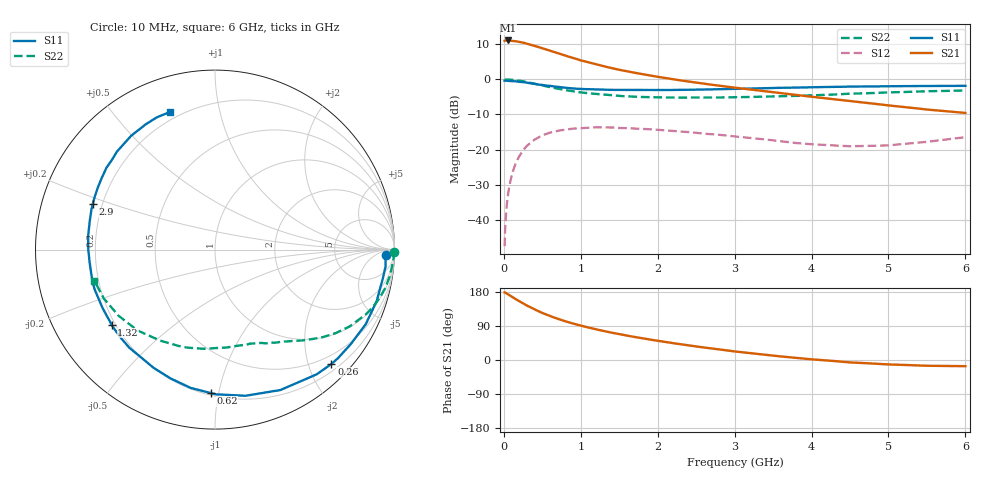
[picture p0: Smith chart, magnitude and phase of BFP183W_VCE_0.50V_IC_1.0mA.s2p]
! Infineon Technologies  Discrete & RF Semiconductors
! BFP183W
! VCE = 0.50V,  IC =  1.0 mA
! Common Emitter S-Parameters:  Jan 2016
# GHz  S  MA  R  50
!  f  S11  S21  S12  S22
! GHz  MAG  ANG  MAG  ANG  MAG  ANG  MAG  ANG
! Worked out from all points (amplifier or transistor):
!   210 points, 10 MHz to 6 GHz, reference 50 ohm
!   highest |S21| = 11.1 dB at 50 MHz (marker M1)
!   |S21| within 3 dB of that: start of sweep to 611.9 MHz
!   unconditionally stable (mu >= 1): 2.486 GHz to end of sweep
!   at 185 MHz: K = 0.09, MSG = 16.6 dB, |S12| = -22.6 dB
!   at 1.52 GHz: K = 0.63, MSG = 8.2 dB, |S12| = -13.9 dB
!   at 6 GHz: K = 1.58, MAG = -1.0 dB, |S12| = -16.5 dB
!   S11 on the Smith chart (normalised r, x): 10 MHz: 29, -20; 260 MHz: 0.33, -2.41; 620 MHz: 0.21, -0.95; 1.32 GHz: 0.19, -0.31; 2.9 GHz: 0.16, +0.17; 6 GHz: 0.16, +0.71
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0.01  0.9541 -1.8  3.543 178.1  0.0042 89.6  0.998 -0.8
0.015  0.9529 -2.7  3.558 177.8  0.0064 88.5  0.9947 -1.2
0.025  0.9534 -4.6  3.573 177.1  0.0106 87.1  0.9942 -2.1
0.05  0.9501 -8.9  3.575 173.9  0.0211 84.6  0.9938 -4.2
0.085  0.9446 -15.0  3.542 169.5  0.0354 79.8  0.9877 -7.1
0.13  0.9379 -22.8  3.506 163.8  0.0536 75.2  0.9781 -10.8
0.2  0.9216 -34.9  3.419 155.0  0.0799 68.4  0.9563 -16.3
0.26  0.9093 -44.5  3.31 148.5  0.1003 62.4  0.9309 -20.7
0.3  0.8966 -50.8  3.221 143.6  0.1128 58.6  0.9133 -23.4
0.4  0.8632 -65.0  3.006 133.5  0.1384 50.0  0.8646 -29.6
0.5  0.832 -78.2  2.778 124.1  0.1592 42.7  0.8185 -34.6
0.62  0.7995 -91.7  2.514 114.7  0.176 34.8  0.7652 -39.9
0.8  0.7591 -109.1  2.173 102.0  0.1926 25.4  0.7017 -46.2
1.02  0.7271 -125.7  1.838 89.7  0.2024 16.5  0.6471 -52.3
1.32  0.7117 -144.0  1.516 75.7  0.2064 7.0  0.6019 -59.6
1.6  0.7039 -157.6  1.304 64.3  0.2021 0.6  0.5738 -65.4
2.02  0.7021 -173.9  1.077 50.0  0.1904 -6.6  0.5529 -74.4
2.9  0.7264 159.7  0.785 25.3  0.1579 -15.0  0.553 -94.1
3.1  0.7341 154.6  0.738 20.4  0.15 -15.5  0.5578 -98.8
4.1  0.7739 133.3  0.549 0.3  0.1172 -7.8  0.596 -123.7
5.1  0.7985 117.9  0.414 -12.3  0.1172 10.8  0.6548 -147.8
6  0.8067 108.2  0.332 -16.3  0.1497 21.1  0.6939 -165.4
